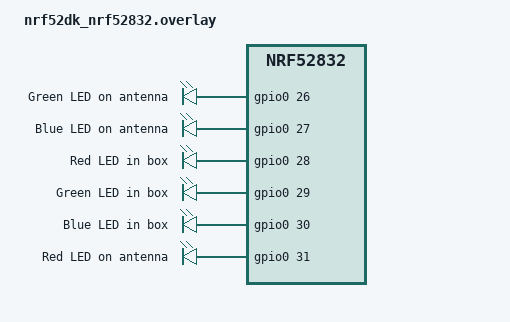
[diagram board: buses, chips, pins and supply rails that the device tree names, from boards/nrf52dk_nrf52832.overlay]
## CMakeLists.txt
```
#
# Copyright (c) 2018 Nordic Semiconductor
#
# SPDX-License-Identifier: LicenseRef-Nordic-5-Clause
#
cmake_minimum_required(VERSION 3.20.0)

find_package(Zephyr REQUIRED HINTS $ENV{ZEPHYR_BASE})
project(NONE)

target_include_directories(app PRIVATE include)

FILE(GLOB app_sources src/*.c)
# NORDIC SDK APP START
target_sources(app PRIVATE ${app_sources})
# NORDIC SDK APP END
```

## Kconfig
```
#
# Copyright (c) 2018 Nordic Semiconductor
#
# SPDX-License-Identifier: LicenseRef-Nordic-5-Clause
#

menu "BLE GATT Hallows service"

source "Kconfig.zephyr"

config BT_HALLOWS_SECURITY_ENABLED
	bool "Enable security"
	default y
	select BT_SMP
	select BT_SETTINGS
	select FLASH
	select FLASH_PAGE_LAYOUT
	select FLASH_MAP
	select ZMS if (SOC_FLASH_NRF_RRAM || SOC_FLASH_NRF_MRAM)
	select NVS if !(SOC_FLASH_NRF_RRAM || SOC_FLASH_NRF_MRAM)
	select SETTINGS
	help
	  "Enable BLE security for the Hallows service"

endmenu
```

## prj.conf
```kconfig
#
# Copyright (c) 2018 Nordic Semiconductor
#
# SPDX-License-Identifier: LicenseRef-Nordic-5-Clause
#
CONFIG_BT=y
CONFIG_BT_CENTRAL=y
CONFIG_BT_SMP=y
CONFIG_BT_GATT_CLIENT=y

CONFIG_LOG=n
CONFIG_UART_CONSOLE=n
CONFIG_CONSOLE=n
CONFIG_SERIAL=n

CONFIG_BT_HALLOWS_CLIENT=y
CONFIG_BT_SCAN=y
CONFIG_BT_SCAN_FILTER_ENABLE=y
CONFIG_BT_SCAN_UUID_CNT=1
CONFIG_BT_SCAN_ADDRESS_CNT=1
CONFIG_BT_GATT_DM=y

CONFIG_ASSERT=y
CONFIG_ASSERT_NO_COND_INFO=y
CONFIG_ASSERT_NO_MSG_INFO=y
CONFIG_HW_STACK_PROTECTION=y
CONFIG_DEBUG=y
CONFIG_DEBUG_OPTIMIZATIONS=y

CONFIG_SYSTEM_WORKQUEUE_STACK_SIZE=2048

# Give the GPIO expander time to startup after its VDD is enabled.
CONFIG_LED=y
CONFIG_GPIO_SX1509B_INIT_PRIORITY=88
CONFIG_LED_INIT_PRIORITY=89

CONFIG_SENSOR=y
CONFIG_LIS2DH_OPER_MODE_LOW_POWER=y
CONFIG_LIS2DH_TRIGGER_GLOBAL_THREAD=y
CONFIG_LIS2DH_ACCEL_HP_FILTERS=y

CONFIG_PM_DEVICE=y

CONFIG_INPUT=y
CONFIG_SNES_GAMEPAD=y
CONFIG_INPUT_GPIO_KEYS=n
```

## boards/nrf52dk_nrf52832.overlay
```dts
/ {
    leds {
		compatible = "gpio-leds";
        led4: led_4 {
            gpios = <&gpio0 26 GPIO_ACTIVE_HIGH>;
            label = "Green LED on antenna";
        };
        led5: led_5 {
            gpios = <&gpio0 27 GPIO_ACTIVE_HIGH>;
            label = "Blue LED on antenna";
        };
        led6: led_6 {
            gpios = <&gpio0 28 GPIO_ACTIVE_HIGH>;
            label = "Red LED in box";
        };
        led7: led_7 {
            gpios = <&gpio0 29 GPIO_ACTIVE_HIGH>;
            label = "Green LED in box";
        };
        led8: led_8 {
            gpios = <&gpio0 30 GPIO_ACTIVE_HIGH>;
            label = "Blue LED in box";
        };
        led9: led_9 {
            gpios = <&gpio0 31 GPIO_ACTIVE_HIGH>;
            label = "Red LED on antenna";
        };
	};
};
```

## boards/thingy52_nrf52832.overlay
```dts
&lis2dh12 {
    int1-gpio-config = <0x03>;
    anym-mode = <0x00>;
    anym-on-int1;
    anym-no-latch;
};

&lps22hb_press {
    status = "disabled";
};

&hts221 {
    status = "disabled";
};

&ccs811 {
    status = "disabled";
};

&spk_pwr {
    status = "disabled";
};

&uart0 {
    status = "disabled";
};

/ {
    snes_gamepad: snes-gamepad {
	status = "okay";
        compatible = "dmv,snes-gamepad";
        latch-gpios = <&gpio0 2 0>;
        clock-gpios = <&gpio0 4 0>;
        data-gpios  = <&gpio0 3 0>;
        polling-interval-ms = <20>;
    };
};
```

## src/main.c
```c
/*
 * Copyright (c) 2018 Nordic Semiconductor ASA
 *
 * SPDX-License-Identifier: LicenseRef-Nordic-5-Clause
 */

#include <zephyr/types.h>
#include <stddef.h>
#include <string.h>
#include <errno.h>
#include <zephyr/sys/printk.h>
#include <zephyr/sys/byteorder.h>
#include <zephyr/kernel.h>
#include <zephyr/drivers/gpio.h>
#include <zephyr/drivers/gpio/gpio_sx1509b.h>
#include <soc.h>
#include <zephyr/device.h>
#include <zephyr/drivers/led.h>
#include <zephyr/logging/log.h>
#include <zephyr/input/input.h>
#include <zephyr/pm/device.h>

#include <zephyr/bluetooth/bluetooth.h>
#include <zephyr/bluetooth/hci.h>
#include <zephyr/bluetooth/conn.h>
#include <zephyr/bluetooth/uuid.h>
#include <zephyr/bluetooth/gatt.h>

#include <bluetooth/services/hallows.h>
#include <bluetooth/services/hallows_client.h>
#include <bluetooth/gatt_dm.h>
#include <bluetooth/scan.h>

#include <zephyr/settings/settings.h>

#include <accel.h>

#define LOG_MODULE_NAME hallows
LOG_MODULE_REGISTER(LOG_MODULE_NAME);

#define DK_BTN_COUNT    4

#define CMD_WAIT_MS     1000
#define CMD_Q_LEN       10

#define SLEEP_TIMER_S   (60 * 5)

static const struct led_dt_spec led_r_lw = LED_DT_SPEC_GET(DT_NODELABEL(led0));
static const struct led_dt_spec led_g_lw = LED_DT_SPEC_GET(DT_NODELABEL(led1));
static const struct led_dt_spec led_b_lw = LED_DT_SPEC_GET(DT_NODELABEL(led2));

static const
struct device *const gamepad = DEVICE_DT_GET(DT_NODELABEL(snes_gamepad));

#define NUMBER_OF_LEDS 3
#define RED_LED DT_GPIO_PIN(DT_NODELABEL(led0), gpios)
#define GREEN_LED DT_GPIO_PIN(DT_NODELABEL(led1), gpios)
#define BLUE_LED DT_GPIO_PIN(DT_NODELABEL(led2), gpios)

static const struct device *sx1509b_dev = DEVICE_DT_GET(DT_NODELABEL(sx1509b));

static void err_flash(void);
static void sleep_expiry_function(struct k_timer *timer_id);
static void enter_sleep(struct k_work *work);

K_TIMER_DEFINE(sleep_timer, sleep_expiry_function, NULL);
K_MSGQ_DEFINE(cmd_msgq, sizeof(uint8_t), CMD_Q_LEN, sizeof(uint8_t));

K_WORK_DEFINE(sleep_work, enter_sleep);

static struct k_work scan_work;
static bool awake;
static atomic_t reconnect;

static struct bt_conn *default_conn;
static struct bt_hallows_client hallows_client;

static int scan_start(void);

static void enter_sleep(struct k_work *work)
{
    int ret;
    atomic_set(&reconnect, 0);
    awake = false;

    ret = pm_device_action_run(gamepad, PM_DEVICE_ACTION_SUSPEND);
    if (ret) {
        err_flash();
    }

    if (default_conn) {
        ret = bt_conn_disconnect(default_conn, BT_HCI_ERR_REMOTE_USER_TERM_CONN);
        if (ret) {
            err_flash();
    }
}

    led_off_dt(&led_r_lw);
}

static void sleep_expiry_function(struct k_timer *timer_id)
{
    k_work_submit(&sleep_work);
}

static void motion_cb(const struct device *dev, const struct sensor_trigger *trig)
{
    int ret;

    if (awake) {
        k_timer_start(&sleep_timer, K_SECONDS(SLEEP_TIMER_S), K_FOREVER);
        return;
    }

    atomic_set(&reconnect, 1);
    ret = scan_start();
    if (ret) {
        err_flash();
    }

    ret = pm_device_action_run(gamepad, PM_DEVICE_ACTION_RESUME);
    if (ret) {
        err_flash();
    }

    awake = true;
    led_on_dt(&led_r_lw);
    k_timer_start(&sleep_timer, K_SECONDS(SLEEP_TIMER_S), K_FOREVER);
}

static void ble_data_sent(uint8_t err)
{
    LOG_DBG("ble_data_sent(%d)", err);
}

static struct bt_hallows_client_cb hallows_cb = {
    .sent = ble_data_sent,
};

static void discovery_complete(struct bt_gatt_dm *dm,
                   void *context)
{
    struct bt_hallows_client *hallows = context;
    LOG_INF("Service discovery completed");

    bt_gatt_dm_data_print(dm);
    bt_hallows_handles_assign(dm, hallows);
    bt_gatt_dm_data_release(dm);
}

static void discovery_service_not_found(struct bt_conn *conn,
                    void *context)
{
    LOG_INF("Service not found");
}

static void discovery_error(struct bt_conn *conn,
                int err,
                void *context)
{
    LOG_WRN("Error while discovering GATT database: (%d)", err);
}

struct bt_gatt_dm_cb discovery_cb = {
    .completed         = discovery_complete,
    .service_not_found = discovery_service_not_found,
    .error_found       = discovery_error,
};

static void gatt_discover(struct bt_conn *conn)
{
    int err;

    if (conn != default_conn) {
        return;
    }

    err = bt_gatt_dm_start(conn,
                   BT_UUID_HALLOWS,
                   &discovery_cb,
                   &hallows_client);
    if (err) {
        LOG_ERR("could not start the discovery procedure, error "
            "code: %d", err);
    }
}

static void connected(struct bt_conn *conn, uint8_t conn_err)
{
    char addr[BT_ADDR_LE_STR_LEN];
    int err;

    led_on_dt(&led_b_lw);

    bt_addr_le_to_str(bt_conn_get_dst(conn), addr, sizeof(addr));

    if (conn_err) {
        LOG_INF("Failed to connect to %s, 0x%02x %s", addr, conn_err,
            bt_hci_err_to_str(conn_err));

        if (default_conn == conn) {
            bt_conn_unref(default_conn);
            default_conn = NULL;

            (void)k_work_submit(&scan_work);
        }

        return;
    }

    LOG_INF("Connected: %s", addr);

    gatt_discover(conn);

    err = bt_scan_stop();
    if (err && (err != -EALREADY)) {
        LOG_ERR("Stop LE scan failed (err %d)", err);
    }
}

static void disconnected(struct bt_conn *conn, uint8_t reason)
{
    char addr[BT_ADDR_LE_STR_LEN];

    led_off_dt(&led_b_lw);

    bt_addr_le_to_str(bt_conn_get_dst(conn), addr, sizeof(addr));

    LOG_INF("Disconnected: %s, reason 0x%02x %s", addr, reason, bt_hci_err_to_str(reason));

    if (default_conn != conn) {
        return;
    }

    bt_conn_unref(default_conn);
    default_conn = NULL;

    if (atomic_get(&reconnect)) {
        (void)k_work_submit(&scan_work);
    }
}

BT_CONN_CB_DEFINE(conn_callbacks) = {
    .connected        = connected,
    .disconnected     = disconnected,
};

static void scan_filter_match(struct bt_scan_device_info *device_info,
                  struct bt_scan_filter_match *filter_match,
                  bool connectable)
{
    char addr[BT_ADDR_LE_STR_LEN];

    bt_addr_le_to_str(device_info->recv_info->addr, addr, sizeof(addr));

    LOG_INF("Filters matched. Address: %s connectable: %d",
        addr, connectable);
}

static void scan_connecting_error(struct bt_scan_device_info *device_info)
{
    LOG_WRN("Connecting failed");
}

static void scan_connecting(struct bt_scan_device_info *device_info,
                struct bt_conn *conn)
{
    default_conn = bt_conn_ref(conn);
}

static int hallows_client_init(void)
{
    int err = bt_hallows_client_init(&hallows_client, &hallows_cb);
    if (err) {
        LOG_ERR("Hallows client initialization failed (err %d)", err);
        return err;
    }

    LOG_INF("Hallows client module initialized");
    return err;
}

BT_SCAN_CB_INIT(scan_cb, scan_filter_match, NULL,
        scan_connecting_error, scan_connecting);

static void try_add_address_filter(const struct bt_bond_info *info, void *user_data)
{
    int err;
    char addr[BT_ADDR_LE_STR_LEN];
    uint8_t *filter_mode = user_data;

    bt_addr_le_to_str(&info->addr, addr, sizeof(addr));

    struct bt_conn *conn = bt_conn_lookup_addr_le(BT_ID_DEFAULT, &info->addr);

    if (conn) {
        bt_conn_unref(conn);
        return;
    }

    err = bt_scan_filter_add(BT_SCAN_FILTER_TYPE_ADDR, &info->addr);
    if (err) {
        LOG_ERR("Address filter cannot be added (err %d): %s", err, addr);
        return;
    }

    LOG_INF("Address filter added: %s", addr);
    *filter_mode |= BT_SCAN_ADDR_FILTER;
}

static int scan_start(void)
{
    int err;
    uint8_t filter_mode = 0;

    err = bt_scan_stop();
    if (err) {
        LOG_ERR("Failed to stop scanning (err %d)", err);
        return err;
    }

    if (!atomic_get(&reconnect)) {
        return 0;
    }

    bt_scan_filter_remove_all();

    err = bt_scan_filter_add(BT_SCAN_FILTER_TYPE_UUID, BT_UUID_HALLOWS);
    if (err) {
        LOG_ERR("UUID filter cannot be added (err %d", err);
        return err;
    }
    filter_mode |= BT_SCAN_UUID_FILTER;

    bt_foreach_bond(BT_ID_DEFAULT, try_add_address_filter, &filter_mode);

    err = bt_scan_filter_enable(filter_mode, false);
    if (err) {
        LOG_ERR("Filters cannot be turned on (err %d)", err);
        return err;
    }

    err = bt_scan_start(BT_SCAN_TYPE_SCAN_ACTIVE);
    if (err) {
        LOG_ERR("Scanning failed to start (err %d)", err);
        return err;
    }

    LOG_INF("Scan started");
    return 0;
}

static void scan_work_handler(struct k_work *item)
{
    ARG_UNUSED(item);

    (void)scan_start();
}

static void scan_init(void)
{
    struct bt_scan_init_param scan_init = {
        .connect_if_match = true,
    };

    bt_scan_init(&scan_init);
    bt_scan_cb_register(&scan_cb);

    k_work_init(&scan_work, scan_work_handler);
    LOG_INF("Scan module initialized");
}

void cmd_thread(void)
{
    uint8_t msg;
    for(;;) {
        k_msgq_get(&cmd_msgq, &msg, K_FOREVER);
        if (default_conn == NULL) {
            printk("Not connected.\n");
        } else {
            led_off_dt(&led_r_lw);
            led_off_dt(&led_b_lw);
            led_on_dt(&led_g_lw);
            int err = bt_hallows_send(&hallows_client, &msg, sizeof(msg));
            if (err) {
                printk("bt_hallows_send failed: %d\n", err);
            } else {
                k_sleep(K_MSEC(CMD_WAIT_MS));                
            }
            led_off_dt(&led_g_lw);
            led_on_dt(&led_r_lw);
            led_on_dt(&led_b_lw);
        }
    }
}

static void gamepad_cb(struct input_event *evt, void *user_data)
{
    if (evt->type == INPUT_EV_KEY) {
        LOG_INF("key code=0x%x %s", evt->code, evt->value ? "down" : "up");
        if (evt->value) {
            uint8_t data;
            switch (evt->code) {
            case INPUT_BTN_WEST: /* Y */
                data = '0';
                k_msgq_put(&cmd_msgq, &data, K_NO_WAIT);
                break;
            case INPUT_BTN_NORTH: /* X */
                data = '1';
                k_msgq_put(&cmd_msgq, &data, K_NO_WAIT);
                break;
            case INPUT_BTN_SOUTH: /* B */
                data = '2';
                k_msgq_put(&cmd_msgq, &data, K_NO_WAIT);
                break;
            case INPUT_BTN_EAST: /* A */
                data = '3';
                k_msgq_put(&cmd_msgq, &data, K_NO_WAIT);
                break;
            }
        }
    }

    if (evt->sync) {
        k_timer_start(&sleep_timer, K_SECONDS(SLEEP_TIMER_S), K_FOREVER);
    }
}

INPUT_CALLBACK_DEFINE(gamepad, gamepad_cb, NULL);

static void err_flash(void)
{
    while (1) {
        led_on_dt(&led_r_lw);
        k_sleep(K_MSEC(200));
        led_off_dt(&led_r_lw);
        k_sleep(K_MSEC(100));
    }
}

int main(void)
{
    int err;

    if (!device_is_ready(sx1509b_dev)) {
        return -1;
    }

    if (!device_is_ready(gamepad)) {
        goto ERROR_EXIT;
    }

    err = motion_init(motion_cb);
    if (err) {
        goto ERROR_EXIT;
    }

    awake = true;
    led_on_dt(&led_r_lw);
    k_timer_start(&sleep_timer, K_SECONDS(SLEEP_TIMER_S), K_FOREVER);

    err = bt_enable(NULL);
    if (err) {
        printk("Bluetooth init failed (err %d)\n", err);
        goto ERROR_EXIT;
    }

    printk("Bluetooth initialized\n");

    if (IS_ENABLED(CONFIG_SETTINGS)) {
        settings_load();
    }

    err = hallows_client_init();
    if (err) {
        printk("Failed to init client (err:%d)\n", err);
        goto ERROR_EXIT;
    }

    scan_init();
    atomic_set(&reconnect, 1);
    err = scan_start();
    if (err) {
        goto ERROR_EXIT;
    }
    return 0;

ERROR_EXIT:
    err_flash();
}

K_THREAD_DEFINE(cmd_thread_id, 1024, cmd_thread, NULL, NULL, NULL, -1, 0, 0);
```

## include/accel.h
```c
/** @file
 *  @brief Functions for interfacing with the low-power accelerometer
 */

#ifndef ACCEL_H_
#define ACCEL_H_

#ifdef __cplusplus
extern "C" {
#endif

#include <zephyr/drivers/sensor.h>


int motion_init(sensor_trigger_handler_t motion_cb);

/**
 * @}
 */

#ifdef __cplusplus
}
#endif

#endif /* ACCEL_H_ */
```

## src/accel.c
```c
#include "accel.h"


static struct sensor_trigger trig = {
    .type = SENSOR_TRIG_DELTA,
    .chan = SENSOR_CHAN_ACCEL_XYZ,
};

int motion_init(sensor_trigger_handler_t motion_cb)
{
    const struct device *dev = DEVICE_DT_GET(DT_NODELABEL(lis2dh12));
    if (!device_is_ready(dev)) {
        return -ENODEV;
    }

    /* CTRL_REG2: HPIS1 - high-pass filter data for the INT1 any-motion interrupt */
    struct sensor_value hp = { .val1 = BIT(0) };
    sensor_attr_set(dev, SENSOR_CHAN_ACCEL_XYZ, SENSOR_ATTR_CONFIGURATION, &hp);

    struct sensor_value th  = { .val1 = 2, .val2 = 0 };  /* m/s^2 */
    struct sensor_value dur = { .val1 = 1, .val2 = 0 };  /* in samples */

    sensor_attr_set(dev, SENSOR_CHAN_ACCEL_XYZ, SENSOR_ATTR_SLOPE_TH,  &th);
    sensor_attr_set(dev, SENSOR_CHAN_ACCEL_XYZ, SENSOR_ATTR_SLOPE_DUR, &dur);

    return sensor_trigger_set(dev, &trig, motion_cb);
}
```
